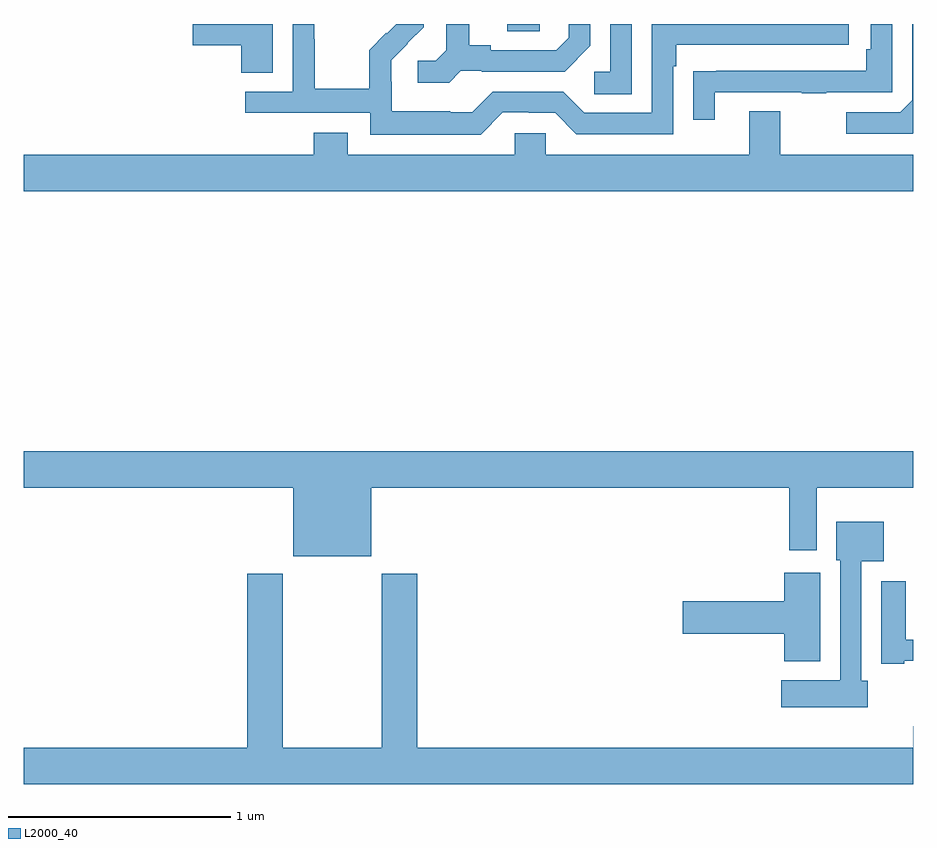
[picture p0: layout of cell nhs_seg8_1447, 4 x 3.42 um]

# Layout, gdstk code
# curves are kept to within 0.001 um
import gdstk
lib = gdstk.Library(unit=1e-6, precision=1e-09)
def R(c, l, rs):  # rectangles x0, y0, x1, y1
    for r in rs: c.add(gdstk.rectangle(r[:2], r[2:], *l))
def P(c, l, *ps):  # polygons
    for p in ps: c.add(gdstk.Polygon(p, *l))
L2000_40 = (2000, 40)

nhs_seg8_1447 = lib.new_cell('nhs_seg8_1447')
R(nhs_seg8_1447, L2000_40, [(205.175,1135.867,205.32,1135.9)])
P(nhs_seg8_1447, L2000_40, [(205.155,1135.503),(205.271,1135.503),(205.271,1135.5),(205.389,1135.5),(205.485,1135.404),(205.92,1135.404),(205.92,1135.709),(205.933,1135.709),(205.933,1135.806),(206.71,1135.806),(206.71,1135.9),(205.824,1135.9),(205.824,1135.5),(205.521,1135.5),(205.425,1135.596),(205.11,1135.596),(205.017,1135.503),(204.917,1135.503),(204.917,1135.507),(204.654,1135.507),(204.654,1135.641),(204.652,1135.641),(204.652,1135.738),(204.798,1135.886),(204.798,1135.9),(204.676,1135.9),(204.633,1135.857),(204.63,1135.86),(204.553,1135.783),(204.553,1135.609),(204.309,1135.609),(204.309,1135.832),(204.306,1135.832),(204.306,1135.9),(204.21,1135.9),(204.21,1135.596),(203.997,1135.596),(203.997,1135.5),(204.558,1135.5),(204.558,1135.403),(205.055,1135.403)],
  [(207,1135.41),(207,1135.9),(206.994,1135.9),(206.994,1135.557),(206.94,1135.503),(206.697,1135.503),(206.697,1135.407),(206.997,1135.407)],
  [(206.107,1135.593),(206.497,1135.593),(206.497,1135.588),(206.609,1135.588),(206.609,1135.593),(206.904,1135.593),(206.904,1135.9),(206.808,1135.9),(206.808,1135.786),(206.788,1135.786),(206.788,1135.689),(206.113,1135.689),(206.113,1135.688),(206.011,1135.688),(206.011,1135.47),(206.107,1135.47)],
  [(204.966,1135.689),(205.06,1135.689),(205.06,1135.686),(205.432,1135.686),(205.548,1135.802),(205.548,1135.9),(205.451,1135.9),(205.451,1135.839),(205.394,1135.782),(205.099,1135.782),(205.099,1135.805),(205.003,1135.805),(205.003,1135.9),(204.899,1135.9),(204.899,1135.781),(204.852,1135.734),(204.771,1135.734),(204.771,1135.637),(204.914,1135.637)],
  [(205.734,1135.9),(205.638,1135.9),(205.638,1135.686),(205.566,1135.686),(205.566,1135.585),(205.734,1135.585)],
  [(204.121,1135.9),(203.76,1135.9),(203.76,1135.805),(203.978,1135.805),(203.978,1135.681),(204.121,1135.681)],
  [(207,1135.312),(206.401,1135.312),(206.401,1135.507),(206.261,1135.507),(206.261,1135.312),(205.347,1135.312),(205.347,1135.41),(205.209,1135.41),(205.209,1135.312),(204.457,1135.312),(204.457,1135.411),(204.305,1135.411),(204.305,1135.312),(203,1135.312),(203,1135.148),(207,1135.148)],
  [(204.562,1133.816),(206.441,1133.816),(206.441,1133.535),(206.566,1133.535),(206.566,1133.816),(207,1133.816),(207,1133.98),(203,1133.98),(203,1133.816),(204.212,1133.816),(204.212,1133.507),(204.562,1133.507)],
  [(206.794,1132.947),(206.766,1132.947),(206.766,1133.486),(206.866,1133.486),(206.866,1133.662),(206.654,1133.662),(206.654,1133.49),(206.67,1133.49),(206.67,1132.951),(206.406,1132.951),(206.406,1132.829),(206.794,1132.829)],
  [(206.581,1133.434),(206.42,1133.434),(206.42,1133.306),(205.962,1133.306),(205.962,1133.159),(206.42,1133.159),(206.42,1133.036),(206.581,1133.036)],
  [(207,1132.744),(206.999,1132.744),(206.999,1132.648),(204.77,1132.648),(204.77,1133.428),(204.61,1133.428),(204.61,1132.648),(204.165,1132.648),(204.165,1133.428),(204.005,1133.428),(204.005,1132.648),(203,1132.648),(203,1132.484),(207,1132.484)],
  [(206.959,1133.037),(207,1133.037),(207,1133.133),(206.965,1133.133),(206.965,1133.395),(206.855,1133.395),(206.855,1133.025),(206.959,1133.025)])

lib.write_gds('nhs_seg8_1447.gds')
